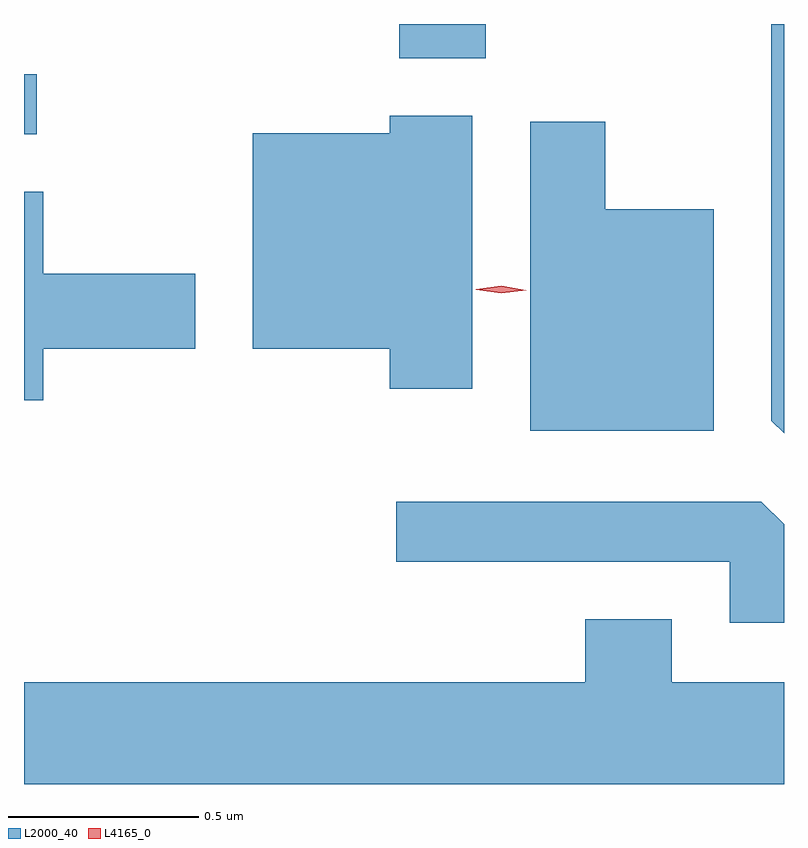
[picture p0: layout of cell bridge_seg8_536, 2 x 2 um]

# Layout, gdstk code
import gdstk
lib = gdstk.Library(unit=1e-6, precision=1e-09)
def R(c, l, rs):  # rectangles x0, y0, x1, y1
    for r in rs: c.add(gdstk.rectangle(r[:2], r[2:], *l))
def P(c, l, *ps):  # polygons
    for p in ps: c.add(gdstk.Polygon(p, *l))
L2000_40 = (2000, 40)
L4165_0 = (4165, 0)

bridge_seg8_536 = lib.new_cell('bridge_seg8_536')
R(bridge_seg8_536, L2000_40, [(286.484,1820.366,286.518,1820.524), (287.471,1820.566,287.699,1820.656)])
P(bridge_seg8_536, L2000_40, [(288.484,1820.656),(288.451,1820.656),(288.451,1819.612),(288.484,1819.579)],
  [(287.664,1820.414),(287.446,1820.414),(287.446,1820.369),(287.086,1820.369),(287.086,1819.801),(287.446,1819.801),(287.446,1819.696),(287.664,1819.696)],
  [(288.299,1820.169),(288.014,1820.169),(288.014,1820.399),(287.816,1820.399),(287.816,1819.586),(288.299,1819.586)],
  [(286.534,1819.801),(286.934,1819.801),(286.934,1819.999),(286.534,1819.999),(286.534,1820.214),(286.484,1820.214),(286.484,1819.666),(286.534,1819.666)],
  [(288.484,1819.339),(288.424,1819.399),(287.463,1819.399),(287.463,1819.241),(288.341,1819.241),(288.341,1819.081),(288.484,1819.081)],
  [(288.484,1818.924),(288.189,1818.924),(288.189,1819.089),(287.961,1819.089),(287.961,1818.924),(286.484,1818.924),(286.484,1818.656),(288.484,1818.656)])
P(bridge_seg8_536, L4165_0, [(287.74,1819.947),(287.674,1819.957),(287.673,1819.958),(287.674,1819.958),(287.74,1819.967),(287.806,1819.956),(287.806,1819.956),(287.806,1819.955)])

lib.write_gds('bridge_seg8_536.gds')
